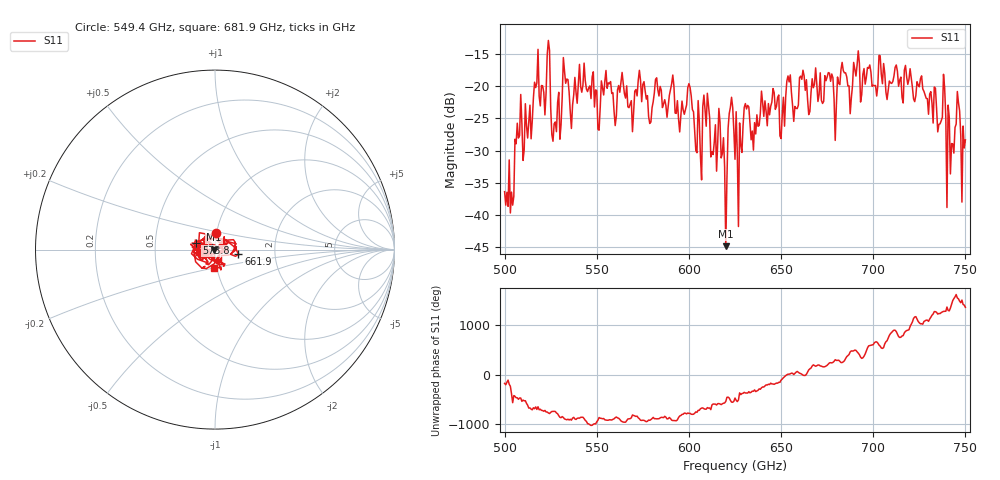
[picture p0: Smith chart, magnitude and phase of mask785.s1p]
!Created with skrf (http://scikit-rf.org).
# GHz S MA R 50.0
!freq magS11 angS11
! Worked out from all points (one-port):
!   401 points, 500 GHz to 750 GHz, reference 50 ohm
!   lowest |S11| = -44.9 dB at 620 GHz (marker M1), VSWR 1.01, Z = 49.4 + j0.00181 ohm
!   |S11| at or under -10 dB: start of sweep to end of sweep
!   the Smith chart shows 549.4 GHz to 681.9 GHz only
!   S11 on the Smith chart (normalised r, x): 549.4 GHz: 0.99, +0.19; 573.8 GHz: 0.81, +0.06; 661.9 GHz: 1.30, -0.07; 681.9 GHz: 0.97, -0.20
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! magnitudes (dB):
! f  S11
! 500 GHz  -36.4
! 516.9 GHz  -20.2
! 523.8 GHz  -12.9
! 526.9 GHz  -25.9
! 531.2 GHz  -21.7
! 549.4 GHz  -20.6
! 562.5 GHz  -20.9
! 568.8 GHz  -22.2
! 573.8 GHz  -19.1
! 593.8 GHz  -22.2
! 600.6 GHz  -20.2
! 605.6 GHz  -25.4
! 609.4 GHz  -26.2
! 620 GHz  -44.9
! 622.5 GHz  -23.3
! 625 GHz  -31.4
! 627.5 GHz  -25.7
! 631.2 GHz  -23.5
! 635 GHz  -29.9
! 656.2 GHz  -23.0
! 661.9 GHz  -17.5
! 681.9 GHz  -19.8
! 687.5 GHz  -24.3
! 718.8 GHz  -19.7
! 738.1 GHz  -18.2
! 741.2 GHz  -24.9
! 745.6 GHz  -20.8
! 750 GHz  -28.3
